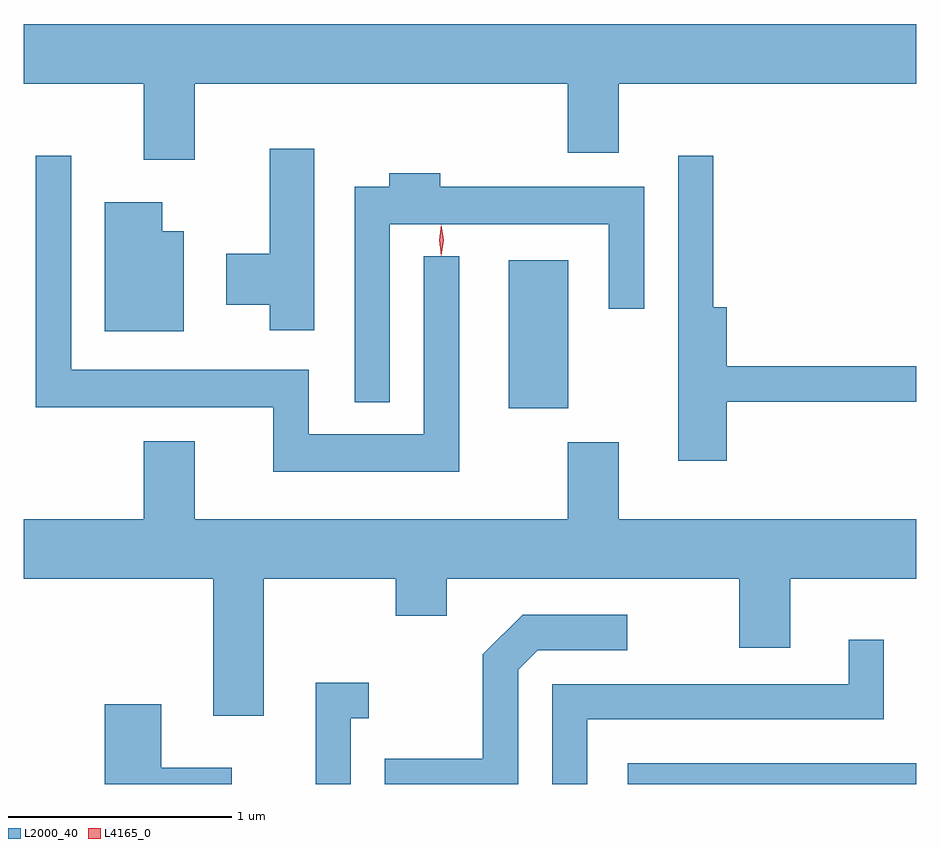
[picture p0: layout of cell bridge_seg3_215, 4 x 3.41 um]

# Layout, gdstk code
import gdstk
lib = gdstk.Library(unit=1e-6, precision=1e-09)
def R(c, l, rs):  # rectangles x0, y0, x1, y1
    for r in rs: c.add(gdstk.rectangle(r[:2], r[2:], *l))
def P(c, l, *ps):  # polygons
    for p in ps: c.add(gdstk.Polygon(p, *l))
L2000_40 = (2000, 40)
L4165_0 = (4165, 0)

bridge_seg3_215 = lib.new_cell('bridge_seg3_215')
R(bridge_seg3_215, L2000_40, [(924.341,1149.516,925.633,1149.609), (923.806,1151.201,924.074,1151.864)])
P(bridge_seg3_215, L2000_40, [(922.399,1152.656),(924.071,1152.656),(924.071,1152.346),(924.299,1152.346),(924.299,1152.656),(925.633,1152.656),(925.633,1152.924),(921.633,1152.924),(921.633,1152.656),(922.171,1152.656),(922.171,1152.316),(922.399,1152.316)],
  [(922.934,1152.364),(922.736,1152.364),(922.736,1151.894),(922.541,1151.894),(922.541,1151.666),(922.736,1151.666),(922.736,1151.551),(922.934,1151.551)],
  [(924.784,1151.231),(925.633,1151.231),(925.633,1151.389),(924.784,1151.389),(924.784,1151.654),(924.724,1151.654),(924.724,1152.333),(924.566,1152.333),(924.566,1150.966),(924.784,1150.966)],
  [(923.584,1151.883),(923.426,1151.883),(923.426,1151.084),(922.909,1151.084),(922.909,1151.374),(921.844,1151.374),(921.844,1152.333),(921.686,1152.333),(921.686,1151.206),(922.751,1151.206),(922.751,1150.916),(923.584,1150.916)],
  [(923.274,1152.026),(924.256,1152.026),(924.256,1151.648),(924.414,1151.648),(924.414,1152.194),(923.499,1152.194),(923.499,1152.254),(923.271,1152.254),(923.271,1152.194),(923.116,1152.194),(923.116,1151.228),(923.274,1151.228)],
  [(922.349,1151.994),(922.254,1151.994),(922.254,1152.124),(921.996,1152.124),(921.996,1151.546),(922.349,1151.546)],
  [(922.709,1150.436),(923.301,1150.436),(923.301,1150.271),(923.529,1150.271),(923.529,1150.436),(924.841,1150.436),(924.841,1150.126),(925.069,1150.126),(925.069,1150.436),(925.633,1150.436),(925.633,1150.704),(924.299,1150.704),(924.299,1151.049),(924.071,1151.049),(924.071,1150.704),(922.399,1150.704),(922.399,1151.054),(922.171,1151.054),(922.171,1150.704),(921.633,1150.704),(921.633,1150.436),(922.481,1150.436),(922.481,1149.821),(922.709,1149.821)],
  [(923.849,1150.029),(923.937,1150.116),(924.338,1150.116),(924.338,1150.274),(923.869,1150.274),(923.691,1150.097),(923.691,1149.629),(923.251,1149.629),(923.251,1149.516),(923.849,1149.516)],
  [(924.159,1149.806),(925.489,1149.806),(925.489,1150.163),(925.331,1150.163),(925.331,1149.964),(924.001,1149.964),(924.001,1149.516),(924.159,1149.516)],
  [(923.099,1149.811),(923.178,1149.811),(923.178,1149.969),(922.941,1149.969),(922.941,1149.516),(923.099,1149.516)],
  [(922.564,1149.589),(922.249,1149.589),(922.249,1149.874),(921.996,1149.874),(921.996,1149.516),(922.564,1149.516)])
P(bridge_seg3_215, L4165_0, [(923.504,1151.884),(923.495,1151.954),(923.504,1152.023),(923.505,1152.023),(923.505,1152.023),(923.515,1151.954),(923.505,1151.884),(923.505,1151.884)],
  [(923.505,1151.887),(923.504,1151.888),(923.495,1151.954),(923.504,1152.02),(923.505,1152.021),(923.505,1152.02),(923.515,1151.954),(923.505,1151.888)])

lib.write_gds('bridge_seg3_215.gds')
